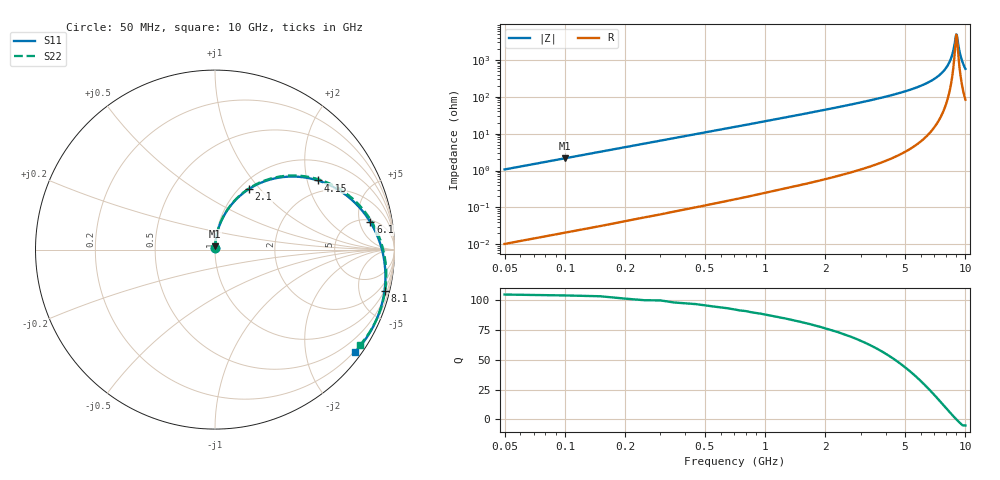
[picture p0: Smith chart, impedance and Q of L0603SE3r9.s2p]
!	AVX	Thin	Film	Operation	Date:	2004
!	Description:	"Series,"	Thin	"Film,"	"LGA,"	RF	Inductors
!	Part	Number:	L06033r9nH
!	50	MHz	-	10	GHz
!	Serial	Measurements
#	mhz	S	db	R	50
!	S11	S11	S21	S21	S12	S12	S22	S22
!	dB	Phase	dB	Phase	dB	Phase	dB	Phase
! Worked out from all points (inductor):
!   200 points, 50 MHz to 10 GHz, reference 50 ohm
!   read as one part in series: L = 3.41 nH near 100 MHz
!   highest Q = 103 at 100 MHz (marker M1), where L = 3.41 nH
!   self-resonance near 9 GHz
!   S11 on the Smith chart (normalised r, x): 50 MHz: 1.00, +0.02; 2.1 GHz: 1.10, +0.88; 4.15 GHz: 1.58, +2.32; 6.1 GHz: 5.49, +7.38; 8.1 GHz: 0.99, -8.22; 10 GHz: 0.18, -3.06
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50  -40.36 88.7  -0.00 -0.7  -0.00 -0.7  -40.36 88.7
100  -34.34 88.0  -0.00 -1.4  -0.00 -1.4  -34.34 88.0
200  -28.32 86.6  -0.01 -2.7  -0.01 -2.7  -28.32 86.7
300  -24.80 85.2  -0.02 -4.1  -0.02 -4.1  -24.80 85.3
600  -18.80 81.1  -0.07 -8.1  -0.07 -8.1  -18.80 81.2
1100  -13.60 74.2  -0.22 -14.9  -0.22 -14.9  -13.60 74.5
1750  -9.71 65.4  -0.53 -23.6  -0.53 -23.6  -9.71 65.8
2100  -8.23 60.7  -0.76 -28.3  -0.76 -28.3  -8.23 61.1
3400  -4.57 43.5  -1.98 -45.0  -1.98 -45.0  -4.57 44.3
4150  -3.23 34.0  -2.98 -54.4  -2.98 -54.4  -3.23 34.9
5050  -2.05 22.8  -4.52 -65.2  -4.52 -65.2  -2.06 23.9
6100  -1.12 10.0  -6.99 -77.3  -6.99 -77.3  -1.12 11.4
6700  -0.75 2.9  -8.90 -83.8  -8.90 -83.8  -0.75 4.4
7500  -0.40 -6.6  -12.46 -91.7  -12.46 -91.7  -0.40 -4.8
8100  -0.25 -13.7  -16.73 -95.8  -16.73 -95.8  -0.25 -11.7
8350  -0.21 -16.6  -19.40 -96.0  -19.40 -96.0  -0.21 -14.6
8700  -0.17 -20.7  -25.35 -89.8  -25.35 -89.8  -0.17 -18.6
9000  -0.17 -24.3  -34.27 -34.0  -34.27 -34.0  -0.17 -22.0
9050  -0.17 -24.8  -34.17 -11.3  -34.17 -11.3  -0.17 -22.6
9300  -0.18 -27.8  -26.41 39.1  -26.41 39.1  -0.18 -25.5
9450  -0.20 -29.6  -23.09 45.0  -23.09 45.0  -0.20 -27.2
10000  -0.30 -36.1  -16.20 47.2  -16.20 47.2  -0.30 -33.5
